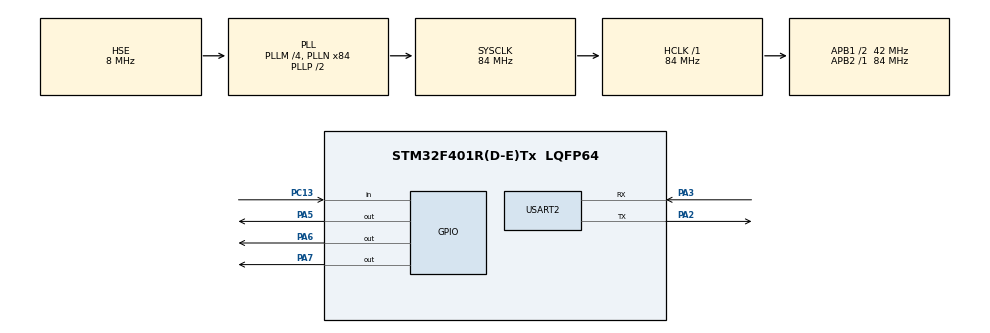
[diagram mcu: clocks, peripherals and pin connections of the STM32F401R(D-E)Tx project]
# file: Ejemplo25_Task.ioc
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Mcu.Family=STM32F4
Mcu.Name=STM32F401R(D-E)Tx
Mcu.Package=LQFP64
NVIC.PriorityGroup=NVIC_PRIORITYGROUP_4
NVIC.TIM1_TRG_COM_TIM11_IRQn=true\:15\:0\:false\:false\:true\:false\:true\:true
NVIC.TimeBase=TIM1_TRG_COM_TIM11_IRQn
NVIC.TimeBaseIP=TIM11
NVIC.USART2_IRQn=true\:0\:0\:false\:false\:true\:true\:true\:true
PA2.Mode=Asynchronous
PA2.Signal=USART2_TX
PA3.Mode=Asynchronous
PA3.Signal=USART2_RX
PA5.Signal=GPIO_Output
PA6.Signal=GPIO_Output
PA7.Signal=GPIO_Output
PC13-ANTI_TAMP.Signal=GPIO_Input
PH0\ -\ OSC_IN.Mode=HSE-External-Clock-Source
PH0\ -\ OSC_IN.Signal=RCC_OSC_IN
PH1\ -\ OSC_OUT.Mode=HSE-External-Clock-Source
PH1\ -\ OSC_OUT.Signal=RCC_OSC_OUT
ProjectManager.HeapSize=0x200
ProjectManager.StackSize=0x400
ProjectManager.TargetToolchain=STM32CubeIDE
RCC.48MHZClocksFreq_Value=42000000
RCC.AHBFreq_Value=84000000
RCC.APB1CLKDivider=RCC_HCLK_DIV2
RCC.APB1Freq_Value=42000000
RCC.APB1TimFreq_Value=84000000
RCC.APB2Freq_Value=84000000
RCC.APB2TimFreq_Value=84000000
RCC.CortexFreq_Value=84000000
RCC.HCLKFreq_Value=84000000
RCC.HSE_VALUE=8000000
RCC.HSI_VALUE=16000000
RCC.LSE_VALUE=32768
RCC.PLLM=4
RCC.PLLN=84
RCC.PLLSourceVirtual=RCC_PLLSOURCE_HSE
RCC.SYSCLKFreq_VALUE=84000000
RCC.SYSCLKSource=RCC_SYSCLKSOURCE_PLLCLK
RCC.VCOOutputFreq_Value=168000000
USART2.VirtualMode=VM_ASYNC
VP_SYS_VS_tim11.Mode=TIM11
board=custom

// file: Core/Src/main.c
/* USER CODE BEGIN Header */
/* USER CODE END Header */
#include "main.h"
#include "usart.h"
#include "gpio.h"

/* USER CODE BEGIN Includes */
#include "stdio.h"
#include "string.h"

#include "FreeRTOS.h"
#include "task.h"
/* USER CODE END Includes */

void SystemClock_Config(void);

/* USER CODE BEGIN 0 */
#define SYSTEM_VIEW				1

int __io_putchar(int ch)
{
	HAL_UART_Transmit(&huart2, (uint8_t *)&ch,1, HAL_MAX_DELAY);

	return ch;
}

TaskHandle_t TaskHandle1,TaskHandle2;

void vTarea1(void *params);
void vTarea2(void *params);

uint8_t status;
/* USER CODE END 0 */

int main(void)
{

  /* MCU Configuration--------------------------------------------------------*/

  /* Reset of all peripherals, Initializes the Flash interface and the Systick. */
  HAL_Init();

  /* Configure the system clock */
  SystemClock_Config();

  /* Initialize all configured peripherals */
  MX_GPIO_Init();
  MX_USART2_UART_Init();
  /* USER CODE BEGIN 2 */

  status = xTaskCreate(vTarea1,"Tarea 1",128, NULL,tskIDLE_PRIORITY+1, &TaskHandle1);
  status = xTaskCreate(vTarea2,"Tarea 2",128, NULL, tskIDLE_PRIORITY+1, &TaskHandle2);

#if SYSTEM_VIEW
//  NVIC_SetPriorityGrouping(0);
  DWT->CTRL |= 1;
  SEGGER_SYSVIEW_Conf();
  /*solo se va usar cuando se trabaje en modo one shot*/
  SEGGER_SYSVIEW_Start();

#endif

 // vTaskPrioritySet(TaskHandle1, tskIDLE_PRIORITY+2);//Cambiar la prioridad en tiempo de ejecucion

 // vTaskSuspend(TaskHandle2);// suspendemos tarea hasta algun evento q yo requiera

  //vTaskResume(TaskHandle2);//retomo la tarea suspendida

  vTaskStartScheduler();//Arrancamos el kernel

  /* USER CODE END 2 */

  /* Infinite loop */
  while(1){

  }
}

void SystemClock_Config(void)
{
  RCC_OscInitTypeDef RCC_OscInitStruct = {0};
  RCC_ClkInitTypeDef RCC_ClkInitStruct = {0};

  /** Configure the main internal regulator output voltage
  */
  __HAL_RCC_PWR_CLK_ENABLE();
  __HAL_PWR_VOLTAGESCALING_CONFIG(PWR_REGULATOR_VOLTAGE_SCALE2);

  /** Initializes the RCC Oscillators according to the specified parameters
  * in the RCC_OscInitTypeDef structure.
  */
  RCC_OscInitStruct.OscillatorType = RCC_OSCILLATORTYPE_HSE;
  RCC_OscInitStruct.HSEState = RCC_HSE_BYPASS;
  RCC_OscInitStruct.PLL.PLLState = RCC_PLL_ON;
  RCC_OscInitStruct.PLL.PLLSource = RCC_PLLSOURCE_HSE;
  RCC_OscInitStruct.PLL.PLLM = 4;
  RCC_OscInitStruct.PLL.PLLN = 84;
  RCC_OscInitStruct.PLL.PLLP = RCC_PLLP_DIV2;
  RCC_OscInitStruct.PLL.PLLQ = 4;
  if (HAL_RCC_OscConfig(&RCC_OscInitStruct) != HAL_OK)
  {
    Error_Handler();
  }

  /** Initializes the CPU, AHB and APB buses clocks
  */
  RCC_ClkInitStruct.ClockType = RCC_CLOCKTYPE_HCLK|RCC_CLOCKTYPE_SYSCLK
                              |RCC_CLOCKTYPE_PCLK1|RCC_CLOCKTYPE_PCLK2;
  RCC_ClkInitStruct.SYSCLKSource = RCC_SYSCLKSOURCE_PLLCLK;
  RCC_ClkInitStruct.AHBCLKDivider = RCC_SYSCLK_DIV1;
  RCC_ClkInitStruct.APB1CLKDivider = RCC_HCLK_DIV2;
  RCC_ClkInitStruct.APB2CLKDivider = RCC_HCLK_DIV1;

  if (HAL_RCC_ClockConfig(&RCC_ClkInitStruct, FLASH_LATENCY_2) != HAL_OK)
  {
    Error_Handler();
  }
}

/* USER CODE BEGIN 4 */

void vTarea1(void *params){
	uint16_t i=0;
	for(;;){
		HAL_GPIO_TogglePin(GPIOA, GPIO_PIN_5);
		//printf("Tarea 1 Ejecutandose :) \n\r");
		vTaskDelay(pdMS_TO_TICKS(200));
		i++;
		if (i==30) {
		vTaskSuspend(TaskHandle2);
		SEGGER_SYSVIEW_Print("tarea2 suspendida");
		}
		else if(i==60){
			i=0;
			vTaskResume(TaskHandle2);
			SEGGER_SYSVIEW_Print("tarea2 despierta");
		}
	}
	vTaskDelete(NULL);
}

void vTarea2(void *params){

	for(;;){

		        HAL_GPIO_TogglePin(GPIOA, GPIO_PIN_6);
				//printf("Tarea 2 Ejecutandose :D \n\r");
				vTaskDelay(pdMS_TO_TICKS(300));
	}
	vTaskDelete(NULL);
}
/* USER CODE END 4 */

void HAL_TIM_PeriodElapsedCallback(TIM_HandleTypeDef *htim)
{
  if (htim->Instance == TIM11) {
    HAL_IncTick();
  }
}

void Error_Handler(void)
{
}
